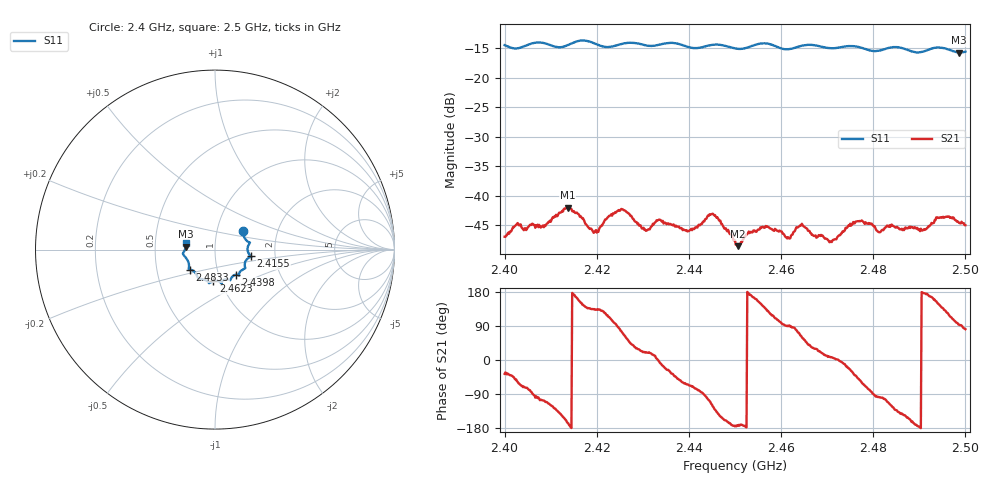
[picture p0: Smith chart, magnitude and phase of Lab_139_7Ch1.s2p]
# Hz S RI R 50
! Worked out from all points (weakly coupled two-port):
!   601 points, 2.4 GHz to 2.5 GHz, reference 50 ohm
!   highest |S21| = -42.06 dB at 2.4137 GHz (marker M1); lowest = -48.6 dB at 2.4507 GHz (marker M2)
!   lowest |S11| = -15.7 dB at 2.4987 GHz (marker M3), VSWR 1.39, Z = 36 + j1.19 ohm
!   |S11| at or under -10 dB: start of sweep to end of sweep
!   S12 and S22 are empty: the file has one direction only
!   S11 on the Smith chart (normalised r, x): 2.4 GHz: 1.33, +0.29; 2.4155 GHz: 1.49, -0.11; 2.4398 GHz: 1.21, -0.35; 2.4623 GHz: 0.92, -0.34; 2.4833 GHz: 0.74, -0.17; 2.5 GHz: 0.72, +0.06
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2.4e9  0.1562 0.106  0.0036 -0.00267  0 0  0 0
2.408333e9  0.1939 0.0368  -0.00161 -0.00534  0 0  0 0
2.413667e9  0.1876 -0.021  -0.00766 -0.00189  0 0  0 0
2.4155e9  0.1988 -0.0363  -0.00694 0.00172  0 0  0 0
2.416667e9  0.2028 -0.0406  -0.00572 0.0032  0 0  0 0
2.419833e9  0.1874 -0.0459  -0.00347 0.00375  0 0  0 0
2.425167e9  0.1668 -0.0962  0.00164 0.00739  0 0  0 0
2.430333e9  0.1517 -0.1134  0.00479 0.00185  0 0  0 0
2.433333e9  0.1343 -0.1339  0.0062 -8.48e-05  0 0  0 0
2.439833e9  0.1166 -0.1396  0.00213 -0.00452  0 0  0 0
2.445167e9  0.0851 -0.1701  -0.00374 -0.00595  0 0  0 0
2.45e9  0.0641 -0.1654  -0.00415 -0.000351  0 0  0 0
2.450667e9  0.0573 -0.166  -0.0037 -0.000439  0 0  0 0
2.456333e9  0.0385 -0.1919  -0.00406 0.00347  0 0  0 0
2.462333e9  -0.0086 -0.176  0.000334 0.00463  0 0  0 0
2.464333e9  -0.0272 -0.184  0.00248 0.005  0 0  0 0
2.466667e9  -0.0331 -0.1868  0.00387 0.00258  0 0  0 0
2.470833e9  -0.0566 -0.1686  0.00408 0.000534  0 0  0 0
2.476667e9  -0.0953 -0.1559  0.00402 -0.00456  0 0  0 0
2.483333e9  -0.1399 -0.1114  -0.00213 -0.00502  0 0  0 0
2.498667e9  -0.1624 0.0161  -0.000338 0.00585  0 0  0 0
2.5e9  -0.1622 0.0373  0.000848 0.00556  0 0  0 0
